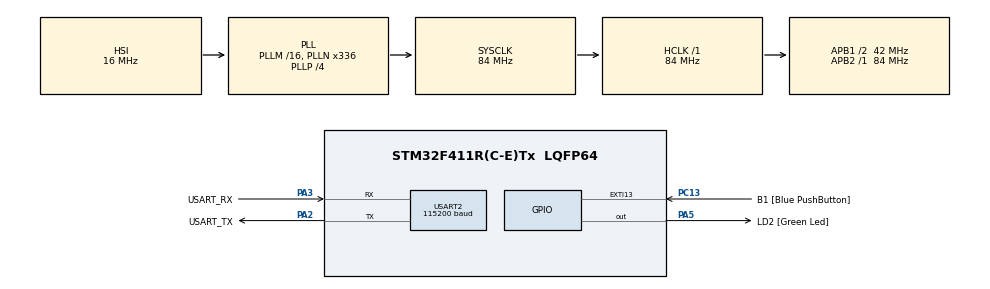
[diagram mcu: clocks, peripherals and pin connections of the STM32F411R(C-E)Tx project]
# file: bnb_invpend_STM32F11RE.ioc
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Dma.Request0=USART2_RX
Dma.USART2_RX.0.Direction=DMA_PERIPH_TO_MEMORY
Dma.USART2_RX.0.FIFOMode=DMA_FIFOMODE_DISABLE
Dma.USART2_RX.0.Instance=DMA1_Stream5
Dma.USART2_RX.0.MemDataAlignment=DMA_MDATAALIGN_BYTE
Dma.USART2_RX.0.MemInc=DMA_MINC_ENABLE
Dma.USART2_RX.0.Mode=DMA_CIRCULAR
Dma.USART2_RX.0.PeriphDataAlignment=DMA_PDATAALIGN_BYTE
Dma.USART2_RX.0.PeriphInc=DMA_PINC_DISABLE
Dma.USART2_RX.0.Priority=DMA_PRIORITY_LOW
Mcu.Family=STM32F4
Mcu.Name=STM32F411R(C-E)Tx
Mcu.Package=LQFP64
NVIC.DMA1_Stream5_IRQn=true\:0\:0\:false\:false\:true\:false\:true\:true
NVIC.PriorityGroup=NVIC_PRIORITYGROUP_0
NVIC.USART2_IRQn=true\:0\:0\:false\:false\:true\:true\:true\:true
PA13.GPIO_Label=TMS
PA13.Mode=Serial_Wire
PA13.Signal=SYS_JTMS-SWDIO
PA14.GPIO_Label=TCK
PA14.Mode=Serial_Wire
PA14.Signal=SYS_JTCK-SWCLK
PA2.GPIO_Label=USART_TX
PA2.Mode=Asynchronous
PA2.Signal=USART2_TX
PA3.GPIO_Label=USART_RX
PA3.Mode=Asynchronous
PA3.Signal=USART2_RX
PA5.GPIO_Label=LD2 [Green Led]
PA5.Signal=GPIO_Output
PB3.GPIO_Label=SWO
PB3.Signal=SYS_JTDO-SWO
PC13-ANTI_TAMP.GPIO_Label=B1 [Blue PushButton]
PC13-ANTI_TAMP.GPIO_ModeDefaultEXTI=GPIO_MODE_IT_FALLING
PC13-ANTI_TAMP.Signal=GPXTI13
PC14-OSC32_IN.Mode=LSE-External-Oscillator
PC14-OSC32_IN.Signal=RCC_OSC32_IN
PC15-OSC32_OUT.Mode=LSE-External-Oscillator
PC15-OSC32_OUT.Signal=RCC_OSC32_OUT
PH0\ -\ OSC_IN.Mode=HSE-External-Clock-Source
PH0\ -\ OSC_IN.Signal=RCC_OSC_IN
PH1\ -\ OSC_OUT.Mode=HSE-External-Clock-Source
PH1\ -\ OSC_OUT.Signal=RCC_OSC_OUT
ProjectManager.HeapSize=0x200
ProjectManager.StackSize=0x400
ProjectManager.TargetToolchain=STM32CubeIDE
RCC.48MHZClocksFreq_Value=84000000
RCC.AHBFreq_Value=84000000
RCC.APB1CLKDivider=RCC_HCLK_DIV2
RCC.APB1Freq_Value=42000000
RCC.APB1TimFreq_Value=84000000
RCC.APB2Freq_Value=84000000
RCC.APB2TimFreq_Value=84000000
RCC.CortexFreq_Value=84000000
RCC.FLatency-AdvancedSettings=FLASH_LATENCY_2
RCC.HCLKFreq_Value=84000000
RCC.HSE_VALUE=8000000
RCC.HSI_VALUE=16000000
RCC.PLLN=336
RCC.PLLP=RCC_PLLP_DIV4
RCC.SYSCLKFreq_VALUE=84000000
RCC.SYSCLKSource=RCC_SYSCLKSOURCE_PLLCLK
RCC.VCOOutputFreq_Value=336000000
TIM10.Prescaler=84*2-1
USART2.BaudRate=115200
USART2.VirtualMode=VM_ASYNC
VP_TIM10_VS_ClockSourceINT.Mode=Enable_Timer
board=NUCLEO-F411RE

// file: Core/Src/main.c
/* USER CODE BEGIN Header */
/**
  ******************************************************************************
  * @file           : main.c
  * @brief          : Main program body
  ******************************************************************************
  * @attention
  *
  * Copyright (c) 2022 STMicroelectronics.
  * All rights reserved.
  *
  * This software is licensed under terms that can be found in the LICENSE file
  * in the root directory of this software component.
  * If no LICENSE file comes with this software, it is provided AS-IS.
  *
  ******************************************************************************
  */
/* USER CODE END Header */
#include "main.h"

/* USER CODE BEGIN Includes */
#include "mpc_workspace.h"
/* USER CODE END Includes */

TIM_HandleTypeDef htim10;

UART_HandleTypeDef huart2;
DMA_HandleTypeDef hdma_usart2_rx;

void SystemClock_Config(void);
static void MX_GPIO_Init(void);
static void MX_DMA_Init(void);
static void MX_USART2_UART_Init(void);
static void MX_TIM10_Init(void);

/* USER CODE BEGIN 0 */
float RxData[N_THETA];
float TxData[N_CONTROL+1+1+1+1];
float* theta = RxData;
float* control = TxData;
int data_to_send = 0;

/* USER CODE END 0 */

int main(void)
{

  /* MCU Configuration--------------------------------------------------------*/

  /* Reset of all peripherals, Initializes the Flash interface and the Systick. */
  HAL_Init();

  /* Configure the system clock */
  SystemClock_Config();

  /* Initialize all configured peripherals */
  MX_GPIO_Init();
  MX_DMA_Init();
  MX_USART2_UART_Init();
  MX_TIM10_Init();
  /* USER CODE BEGIN 2 */
  HAL_TIM_Base_Start(&htim10);
  HAL_UART_Receive_DMA(&huart2,(uint8_t *)RxData,sizeof(float)*(N_THETA));
  /* USER CODE END 2 */

  /* Infinite loop */
  /* USER CODE BEGIN WHILE */
  while (1)
  {
	HAL_GPIO_TogglePin(GPIOA,GPIO_PIN_5);
	if(data_to_send){
		HAL_UART_Transmit(&huart2,(uint8_t *)TxData,sizeof(float)*(N_CONTROL+1+1+1+1),10);
		data_to_send=0;
	}
	HAL_Delay(1000);
    /* USER CODE END WHILE */

  }
}

void SystemClock_Config(void)
{
  RCC_OscInitTypeDef RCC_OscInitStruct = {0};
  RCC_ClkInitTypeDef RCC_ClkInitStruct = {0};

  /** Configure the main internal regulator output voltage
  */
  __HAL_RCC_PWR_CLK_ENABLE();
  __HAL_PWR_VOLTAGESCALING_CONFIG(PWR_REGULATOR_VOLTAGE_SCALE1);

  /** Initializes the RCC Oscillators according to the specified parameters
  * in the RCC_OscInitTypeDef structure.
  */
  RCC_OscInitStruct.OscillatorType = RCC_OSCILLATORTYPE_HSI;
  RCC_OscInitStruct.HSIState = RCC_HSI_ON;
  RCC_OscInitStruct.HSICalibrationValue = RCC_HSICALIBRATION_DEFAULT;
  RCC_OscInitStruct.PLL.PLLState = RCC_PLL_ON;
  RCC_OscInitStruct.PLL.PLLSource = RCC_PLLSOURCE_HSI;
  RCC_OscInitStruct.PLL.PLLM = 16;
  RCC_OscInitStruct.PLL.PLLN = 336;
  RCC_OscInitStruct.PLL.PLLP = RCC_PLLP_DIV4;
  RCC_OscInitStruct.PLL.PLLQ = 4;
  if (HAL_RCC_OscConfig(&RCC_OscInitStruct) != HAL_OK)
  {
    Error_Handler();
  }

  /** Initializes the CPU, AHB and APB buses clocks
  */
  RCC_ClkInitStruct.ClockType = RCC_CLOCKTYPE_HCLK|RCC_CLOCKTYPE_SYSCLK
                              |RCC_CLOCKTYPE_PCLK1|RCC_CLOCKTYPE_PCLK2;
  RCC_ClkInitStruct.SYSCLKSource = RCC_SYSCLKSOURCE_PLLCLK;
  RCC_ClkInitStruct.AHBCLKDivider = RCC_SYSCLK_DIV1;
  RCC_ClkInitStruct.APB1CLKDivider = RCC_HCLK_DIV2;
  RCC_ClkInitStruct.APB2CLKDivider = RCC_HCLK_DIV1;

  if (HAL_RCC_ClockConfig(&RCC_ClkInitStruct, FLASH_LATENCY_2) != HAL_OK)
  {
    Error_Handler();
  }
}

static void MX_TIM10_Init(void)
{

  htim10.Instance = TIM10;
  htim10.Init.Prescaler = 84*2-1;
  htim10.Init.CounterMode = TIM_COUNTERMODE_UP;
  htim10.Init.Period = 65535;
  htim10.Init.ClockDivision = TIM_CLOCKDIVISION_DIV1;
  htim10.Init.AutoReloadPreload = TIM_AUTORELOAD_PRELOAD_DISABLE;
  if (HAL_TIM_Base_Init(&htim10) != HAL_OK)
  {
    Error_Handler();
  }

}

static void MX_USART2_UART_Init(void)
{

  huart2.Instance = USART2;
  huart2.Init.BaudRate = 115200;
  huart2.Init.WordLength = UART_WORDLENGTH_8B;
  huart2.Init.StopBits = UART_STOPBITS_1;
  huart2.Init.Parity = UART_PARITY_NONE;
  huart2.Init.Mode = UART_MODE_TX_RX;
  huart2.Init.HwFlowCtl = UART_HWCONTROL_NONE;
  huart2.Init.OverSampling = UART_OVERSAMPLING_16;
  if (HAL_UART_Init(&huart2) != HAL_OK)
  {
    Error_Handler();
  }

}

static void MX_DMA_Init(void)
{

  /* DMA controller clock enable */
  __HAL_RCC_DMA1_CLK_ENABLE();

  /* DMA interrupt init */
  /* DMA1_Stream5_IRQn interrupt configuration */
  HAL_NVIC_SetPriority(DMA1_Stream5_IRQn, 0, 0);
  HAL_NVIC_EnableIRQ(DMA1_Stream5_IRQn);

}

static void MX_GPIO_Init(void)
{
  GPIO_InitTypeDef GPIO_InitStruct = {0};

  /* GPIO Ports Clock Enable */
  __HAL_RCC_GPIOC_CLK_ENABLE();
  __HAL_RCC_GPIOH_CLK_ENABLE();
  __HAL_RCC_GPIOA_CLK_ENABLE();
  __HAL_RCC_GPIOB_CLK_ENABLE();

  /*Configure GPIO pin Output Level */
  HAL_GPIO_WritePin(LD2_GPIO_Port, LD2_Pin, GPIO_PIN_RESET);

  /*Configure GPIO pin : B1_Pin */
  GPIO_InitStruct.Pin = B1_Pin;
  GPIO_InitStruct.Mode = GPIO_MODE_IT_FALLING;
  GPIO_InitStruct.Pull = GPIO_NOPULL;
  HAL_GPIO_Init(B1_GPIO_Port, &GPIO_InitStruct);

  /*Configure GPIO pin : LD2_Pin */
  GPIO_InitStruct.Pin = LD2_Pin;
  GPIO_InitStruct.Mode = GPIO_MODE_OUTPUT_PP;
  GPIO_InitStruct.Pull = GPIO_NOPULL;
  GPIO_InitStruct.Speed = GPIO_SPEED_FREQ_LOW;
  HAL_GPIO_Init(LD2_GPIO_Port, &GPIO_InitStruct);

}

/* USER CODE BEGIN 4 */
void HAL_UART_RxCpltCallback(UART_HandleTypeDef *huart){
	__HAL_TIM_SET_COUNTER(&htim10,0);
	int exitflag = mpc_compute_control(theta, control, &daqp_work);
	uint16_t time = __HAL_TIM_GET_COUNTER(&htim10);

	TxData[N_CONTROL]=time;
	TxData[N_CONTROL+1]=exitflag;
	TxData[N_CONTROL+2]=daqp_work.bnb->nodecount;
	TxData[N_CONTROL+3]=daqp_work.iterations;

	data_to_send = 1;
}

/* USER CODE END 4 */

void Error_Handler(void)
{
  __disable_irq();
  while (1)
  {
  }
}
